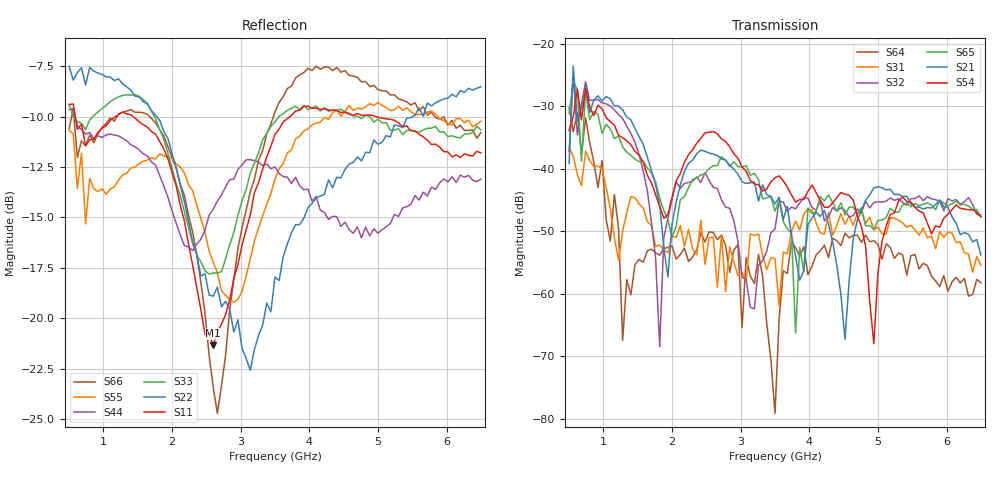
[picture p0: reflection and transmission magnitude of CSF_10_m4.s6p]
!Keysight Technologies,M9804A,MY58100912,A.14.10.03
!Date: Thursday, April 27, 2023 10:28:33
!Correction: S11(C  6-Port  )
!S12(C  6-Port  )
!S13(C  6-Port  )
!S14(C  6-Port  )
!S15(C  6-Port  )
!S16(C  6-Port  )
!S21(C  6-Port  )
!S22(C  6-Port  )
!S23(C  6-Port  )
!S24(C  6-Port  )
!S25(C  6-Port  )
!S26(C  6-Port  )
!S31(C  6-Port  )
!S32(C  6-Port  )
!S33(C  6-Port  )
!S34(C  6-Port  )
!S35(C  6-Port  )
!S36(C  6-Port  )
!S41(C  6-Port  )
!S42(C  6-Port  )
!S43(C  6-Port  )
!S44(C  6-Port  )
!S45(C  6-Port  )
!S46(C  6-Port  )
!S51(C  6-Port  )
!S52(C  6-Port  )
!S53(C  6-Port  )
!S54(C  6-Port  )
!S55(C  6-Port  )
!S56(C  6-Port  )
!S61(C  6-Port  )
!S62(C  6-Port  )
!S63(C  6-Port  )
!S64(C  6-Port  )
!S65(C  6-Port  )
!S66(C  6-Port  )
!S6P File: Measurement: :
# Hz S  RI  R 50
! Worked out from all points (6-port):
!   101 points, 500 MHz to 6.5 GHz, reference 50 ohm
!   strongest paths, dB at 500 MHz, 2 GHz, 3.5 GHz, 5 GHz, 6.5 GHz:
!     S54: -33.8, -44.5, -41.4, -56.6, -47.7
!     S21: -39.1, -48.8, -45.6, -42.9, -53.8
!     S65: -31.1, -51.0, -46.8, -48.3, -47.6
!     S32: -37.2, -44.9, -49.6, -45.3, -47.4
!     S31: -36.5, -50.8, -54.3, -49.3, -55.4
!     S64: -30.2, -52.3, -79.1, -52.1, -58.2
!   lowest |S11| = -21.3 dB at 2.6 GHz (marker M1), VSWR 1.19, Z = 42.4 + j2.21 ohm
!   |S11| at or under -10 dB: 590.1 MHz to 1.175 GHz (584.7 MHz wide, 66.3 % of centre); 1.435 GHz to 3.716 GHz (2.281 GHz wide, 88.6 % of centre); 4.975 GHz to end of sweep
